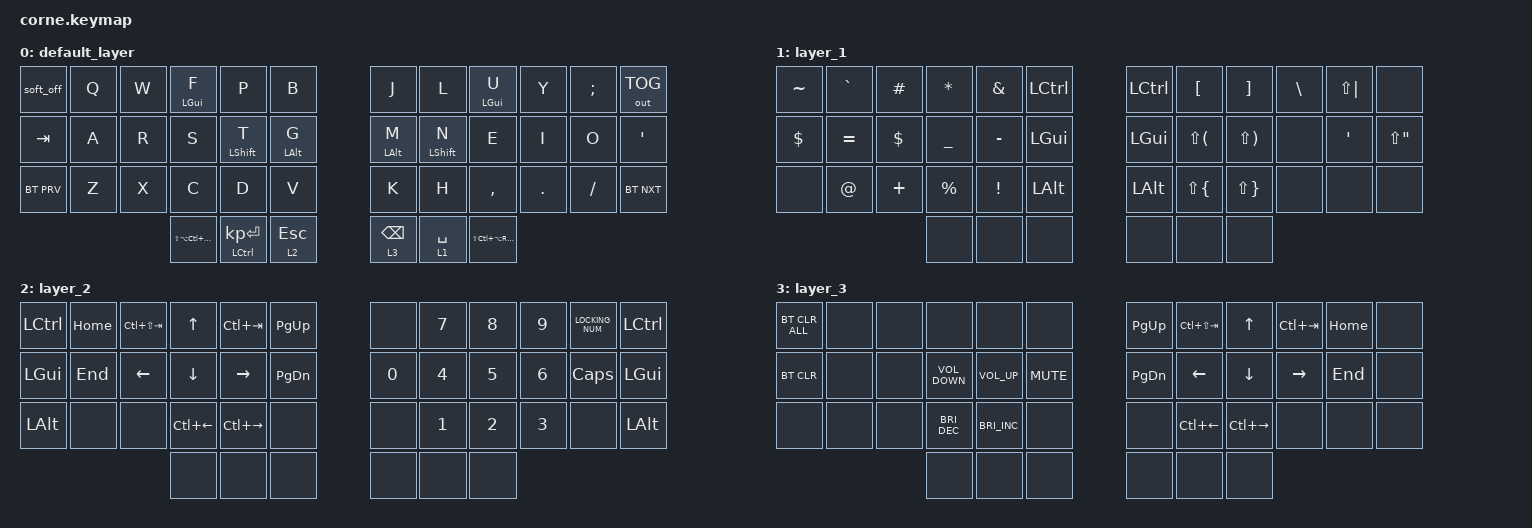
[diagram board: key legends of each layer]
/*
 * Copyright (c) 2020 The ZMK Contributors
 *
 * SPDX-License-Identifier: MIT
 */

#include <behaviors.dtsi>
#include <dt-bindings/zmk/bt.h>
#include <dt-bindings/zmk/keys.h>
#include <dt-bindings/zmk/outputs.h>

&mt {
    flavor = "tap-preferred";
    quick-tap-ms = <100>;
    require-prior-idle-ms = <150>;
};

&lt {
    quick-tap-ms = <100>;
    flavor = "tap-preferred";
    require-prior-idle-ms = <150>;
};

/ {
    keymap {
        compatible = "zmk,keymap";

        default_layer {
            // -----------------------------------------------------------------------------------------
            // |  TAB |  Q  |  W  |  E  |  R  |  T  |   |  Y  |  U   |  I  |  O  |  P  | BKSP |
            // | CTRL |  A  |  S  |  D  |  F  |  G  |   |  H  |  J   |  K  |  L  |  ;  |  '   |
            // | SHFT |  Z  |  X  |  C  |  V  |  B  |   |  N  |  M   |  ,  |  .  |  /  | ESC  |
            //                    | GUI | LWR | SPC |   | ENT | RSE  | ALT |

            bindings = <
&soft_off   &kp Q  &kp W  &mt LEFT_GUI F            &kp P                      &kp B             &kp J            &kp L             &mt LEFT_GUI U        &kp Y    &kp SEMICOLON  &out OUT_TOG
&kp TAB     &kp A  &kp R  &kp S                     &mt LEFT_SHIFT T           &mt LEFT_ALT G    &mt LEFT_ALT M   &mt LEFT_SHIFT N  &kp E                 &kp I    &kp O          &kp SQT
&bt BT_PRV  &kp Z  &kp X  &kp C                     &kp D                      &kp V             &kp K            &kp H             &kp COMMA             &kp DOT  &kp FSLH       &bt BT_NXT
                          &kp LS(LA(LC(LG(LGUI))))  &mt LEFT_CONTROL KP_ENTER  &lt 2 ESCAPE      &lt 3 BACKSPACE  &lt 1 SPACE       &kp LS(LC(LA(RALT)))
            >;
        };

        layer_1 {
            // -----------------------------------------------------------------------------------------
            // |  TAB |  1  |  2  |  3  |  4  |  5  |   |  6  |  7  |  8  |  9  |  0  | BKSP |
            // | BTCLR| BT1 | BT2 | BT3 | BT4 | BT5 |   | LFT | DWN |  UP | RGT |     |      |
            // | SHFT |     |     |     |     |     |   |     |     |     |     |     |      |
            //                    | GUI |     | SPC |   | ENT |     | ALT |

            bindings = <
&kp TILDE   &kp GRAVE    &kp HASH    &kp ASTERISK    &kp AMPERSAND    &kp LEFT_CONTROL    &kp LCTRL  &kp LBKT      &kp RBKT      &kp BSLH  &kp LS(PIPE)  &none
&kp DOLLAR  &kp EQUAL    &kp DOLLAR  &kp UNDERSCORE  &kp MINUS        &kp LGUI            &kp LGUI   &kp LS(LPAR)  &kp LS(RPAR)  &none     &kp SQT       &kp LS(DQT)
&none       &kp AT_SIGN  &kp PLUS    &kp PERCENT     &kp EXCLAMATION  &kp LALT            &kp LALT   &kp LS(LBRC)  &kp LS(RBRC)  &none     &none         &none
                                     &none           &none            &none               &none      &none         &none
            >;
        };

        layer_2 {
            bindings = <
&kp LCTRL  &kp HOME  &kp LC(LS(TAB))  &kp UP        &kp LC(TAB)    &kp PAGE_UP      &none   &kp N7  &kp N8  &kp NUMBER_9  &kp LOCKING_NUM  &kp LCTRL
&kp LGUI   &kp END   &kp LEFT         &kp DOWN      &kp RIGHT      &kp PAGE_DOWN    &kp N0  &kp N4  &kp N5  &kp N6        &kp CAPSLOCK     &kp LGUI
&kp LALT   &none     &none            &kp LC(LEFT)  &kp LC(RIGHT)  &none            &none   &kp N1  &kp N2  &kp N3        &none            &kp LALT
                                      &none         &none          &none            &none   &none   &none
            >;
        };

        layer_3 {
            bindings = <
&bt BT_CLR_ALL  &none  &none  &none                 &none                 &none         &kp PG_UP  &kp LC(LS(TAB))  &kp UP         &kp LC(TAB)  &kp HOME  &none
&bt BT_CLR      &none  &none  &kp C_VOLUME_DOWN     &kp C_VOLUME_UP       &kp K_MUTE    &kp PG_DN  &kp LEFT         &kp DOWN       &kp RIGHT    &kp END   &none
&none           &none  &none  &kp C_BRIGHTNESS_DEC  &kp C_BRIGHTNESS_INC  &none         &none      &kp LC(LEFT)     &kp LC(RIGHT)  &none        &none     &none
                              &none                 &none                 &none         &none      &none            &none
            >;
        };
    };
};
